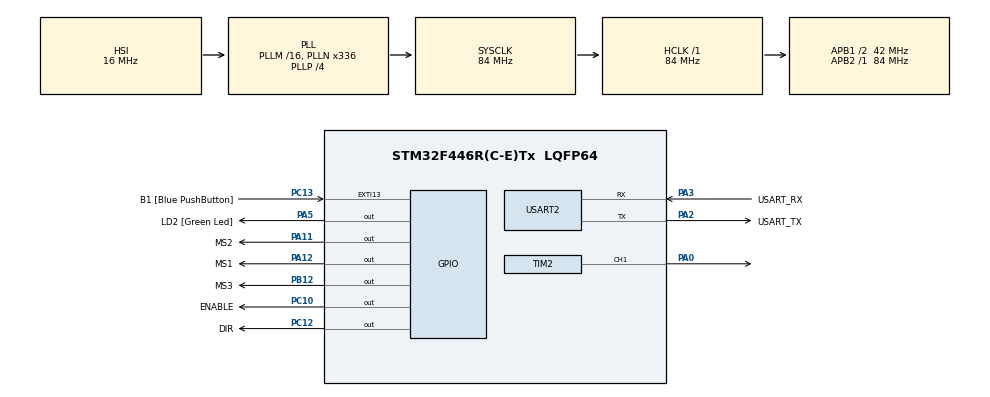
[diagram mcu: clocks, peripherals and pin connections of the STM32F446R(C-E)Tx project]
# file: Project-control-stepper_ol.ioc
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Mcu.Family=STM32F4
Mcu.Name=STM32F446R(C-E)Tx
Mcu.Package=LQFP64
NVIC.EXTI15_10_IRQn=true\:0\:0\:false\:false\:true\:true\:true\:true
NVIC.PriorityGroup=NVIC_PRIORITYGROUP_0
NVIC.TIM3_IRQn=true\:0\:0\:false\:false\:true\:true\:true\:true
NVIC.TIM6_DAC_IRQn=true\:0\:0\:false\:false\:true\:true\:true\:true
NVIC.USART2_IRQn=true\:0\:0\:false\:false\:true\:true\:true\:true
PA0-WKUP.Signal=S_TIM2_CH1_ETR
PA11.GPIO_Label=MS2
PA11.Signal=GPIO_Output
PA12.GPIO_Label=MS1
PA12.Signal=GPIO_Output
PA13.GPIO_Label=TMS
PA13.Mode=Serial_Wire
PA13.Signal=SYS_JTMS-SWDIO
PA14.GPIO_Label=TCK
PA14.Mode=Serial_Wire
PA14.Signal=SYS_JTCK-SWCLK
PA2.GPIO_Label=USART_TX
PA2.Mode=Asynchronous
PA2.Signal=USART2_TX
PA3.GPIO_Label=USART_RX
PA3.Mode=Asynchronous
PA3.Signal=USART2_RX
PA5.GPIO_Label=LD2 [Green Led]
PA5.Signal=GPIO_Output
PB12.GPIO_Label=MS3
PB12.Signal=GPIO_Output
PB3.GPIO_Label=SWO
PB3.Signal=SYS_JTDO-SWO
PC10.GPIO_Label=ENABLE
PC10.Signal=GPIO_Output
PC12.GPIO_Label=DIR
PC12.Signal=GPIO_Output
PC13.GPIO_Label=B1 [Blue PushButton]
PC13.GPIO_ModeDefaultEXTI=GPIO_MODE_IT_FALLING
PC13.Signal=GPXTI13
PC14-OSC32_IN.Mode=LSE-External-Oscillator
PC14-OSC32_IN.Signal=RCC_OSC32_IN
PC15-OSC32_OUT.Mode=LSE-External-Oscillator
PC15-OSC32_OUT.Signal=RCC_OSC32_OUT
PH0-OSC_IN.Mode=HSE-External-Oscillator
PH0-OSC_IN.Signal=RCC_OSC_IN
PH1-OSC_OUT.Mode=HSE-External-Oscillator
PH1-OSC_OUT.Signal=RCC_OSC_OUT
ProjectManager.HeapSize=0x200
ProjectManager.StackSize=0x400
ProjectManager.TargetToolchain=STM32CubeIDE
RCC.48MHZClocksFreq_Value=84000000
RCC.AHBFreq_Value=84000000
RCC.APB1CLKDivider=RCC_HCLK_DIV2
RCC.APB1Freq_Value=42000000
RCC.APB1TimFreq_Value=84000000
RCC.APB2Freq_Value=84000000
RCC.APB2TimFreq_Value=84000000
RCC.CortexFreq_Value=84000000
RCC.FLatency-AdvancedSettings=FLASH_LATENCY_2
RCC.HCLKFreq_Value=84000000
RCC.HSE_VALUE=8000000
RCC.HSI_VALUE=16000000
RCC.PLLN=336
RCC.PLLP=RCC_PLLP_DIV4
RCC.SYSCLKFreq_VALUE=84000000
RCC.SYSCLKSource=RCC_SYSCLKSOURCE_PLLCLK
RCC.USBFreq_Value=168000000
RCC.VCOOutputFreq_Value=336000000
SH.S_TIM2_CH1_ETR.0=TIM2_CH1,PWM Generation1 CH1
TIM2.Channel-PWM\ Generation1\ CH1=TIM_CHANNEL_1
TIM2.Period=839999
TIM2.Prescaler=0
TIM2.Pulse-PWM\ Generation1\ CH1=10000
TIM2.TIM_MasterOutputTrigger=TIM_TRGO_UPDATE
TIM2.TIM_MasterSlaveMode=TIM_MASTERSLAVEMODE_ENABLE
TIM3.Period=200
TIM6.Period=8399
TIM6.Prescaler=499
USART2.VirtualMode=VM_ASYNC
VP_TIM2_VS_ClockSourceINT.Mode=Internal
VP_TIM3_VS_ClockSourceITR.Mode=TriggerSource_ITR1
VP_TIM3_VS_ControllerModeClock.Mode=Clock Mode
VP_TIM6_VS_ClockSourceINT.Mode=Enable_Timer
board=NUCLEO-F446RE

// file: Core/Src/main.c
/* USER CODE BEGIN Header */
/**
  ******************************************************************************
  * @file           : main.c
  * @brief          : Main program body
  ******************************************************************************
  * @attention
  *
  * Copyright (c) 2025 STMicroelectronics.
  * All rights reserved.
  *
  * This software is licensed under terms that can be found in the LICENSE file
  * in the root directory of this software component.
  * If no LICENSE file comes with this software, it is provided AS-IS.
  *
  ******************************************************************************
  */
/* USER CODE END Header */
#include "main.h"
#include "tim.h"
#include "usart.h"
#include "gpio.h"

/* USER CODE BEGIN Includes */
#include "command.h"
#include "stepper.h"
#include <stdlib.h>

/* USER CODE END Includes */

/* USER CODE BEGIN PV */

Command g_command;
Stepper nema_17;

uint8_t rx_data[20];
uint8_t cnt=0;

float step_displacement = 0.0505;

volatile float *speed_table = NULL;
volatile uint32_t speed_table_size = 0;

int last_position = 0;

/* USER CODE END PV */

void SystemClock_Config(void);

int main(void)
{

  /* MCU Configuration--------------------------------------------------------*/

  /* Reset of all peripherals, Initializes the Flash interface and the Systick. */
  HAL_Init();

  /* Configure the system clock */
  SystemClock_Config();

  /* Initialize all configured peripherals */
  MX_GPIO_Init();
  MX_USART2_UART_Init();
  MX_TIM2_Init();
  MX_TIM3_Init();
  MX_TIM6_Init();
  /* USER CODE BEGIN 2 */

  Stepper_Init(&nema_17, step_displacement, GPIOC, GPIO_PIN_10, &htim2, GPIOA, GPIO_PIN_0, GPIOC, GPIO_PIN_12, GPIOA, GPIO_PIN_12, GPIOA, GPIO_PIN_11, GPIOB, GPIO_PIN_12);
  Stepper_SetMicroStep(&nema_17, QUARTER_STEP);

  Command_Init(&g_command, &nema_17, &htim3, &huart2);

  // Start uart connection
  HAL_UART_Receive_IT(&huart2, rx_data, 1);

  // Start slave timer
  __HAL_TIM_CLEAR_FLAG(&htim3, TIM_FLAG_UPDATE);
  HAL_TIM_Base_Start_IT(&htim3);

  /* USER CODE END 2 */

  /* Infinite loop */
  while (1)
  {

  }
}

void SystemClock_Config(void)
{
  RCC_OscInitTypeDef RCC_OscInitStruct = {0};
  RCC_ClkInitTypeDef RCC_ClkInitStruct = {0};

  /** Configure the main internal regulator output voltage
  */
  __HAL_RCC_PWR_CLK_ENABLE();
  __HAL_PWR_VOLTAGESCALING_CONFIG(PWR_REGULATOR_VOLTAGE_SCALE3);

  /** Initializes the RCC Oscillators according to the specified parameters
  * in the RCC_OscInitTypeDef structure.
  */
  RCC_OscInitStruct.OscillatorType = RCC_OSCILLATORTYPE_HSI;
  RCC_OscInitStruct.HSIState = RCC_HSI_ON;
  RCC_OscInitStruct.HSICalibrationValue = RCC_HSICALIBRATION_DEFAULT;
  RCC_OscInitStruct.PLL.PLLState = RCC_PLL_ON;
  RCC_OscInitStruct.PLL.PLLSource = RCC_PLLSOURCE_HSI;
  RCC_OscInitStruct.PLL.PLLM = 16;
  RCC_OscInitStruct.PLL.PLLN = 336;
  RCC_OscInitStruct.PLL.PLLP = RCC_PLLP_DIV4;
  RCC_OscInitStruct.PLL.PLLQ = 2;
  RCC_OscInitStruct.PLL.PLLR = 2;
  if (HAL_RCC_OscConfig(&RCC_OscInitStruct) != HAL_OK)
  {
    Error_Handler();
  }

  /** Initializes the CPU, AHB and APB buses clocks
  */
  RCC_ClkInitStruct.ClockType = RCC_CLOCKTYPE_HCLK|RCC_CLOCKTYPE_SYSCLK
                              |RCC_CLOCKTYPE_PCLK1|RCC_CLOCKTYPE_PCLK2;
  RCC_ClkInitStruct.SYSCLKSource = RCC_SYSCLKSOURCE_PLLCLK;
  RCC_ClkInitStruct.AHBCLKDivider = RCC_SYSCLK_DIV1;
  RCC_ClkInitStruct.APB1CLKDivider = RCC_HCLK_DIV2;
  RCC_ClkInitStruct.APB2CLKDivider = RCC_HCLK_DIV1;

  if (HAL_RCC_ClockConfig(&RCC_ClkInitStruct, FLASH_LATENCY_2) != HAL_OK)
  {
    Error_Handler();
  }
}

/* USER CODE BEGIN 4 */

void HAL_UART_RxCpltCallback(UART_HandleTypeDef *huart){
	/*
	 * Commands are received through uart
	 */
	if (huart->Instance == USART2){

		if (*(rx_data+cnt) == '\r'){
			Command_Parse(&g_command, rx_data);
			Command_Execute(&g_command);
			cnt = -1;
			memset(rx_data,0,sizeof(rx_data));
			Command_Clear(&g_command);
		}
		cnt++;
		HAL_UART_Receive_IT(&huart2, rx_data+cnt, 1);
	}
}

void HAL_TIM_PeriodElapsedCallback(TIM_HandleTypeDef *htim){

	// Tim3 handles distances
	if (htim->Instance == TIM3){
		Stepper_Stop(&nema_17);
		Stepper_Disable(&nema_17);
		Stepper_SetSpeed(&nema_17, 0.0f);

		if (speed_table != NULL) {
			free(speed_table);
			speed_table = NULL;
			speed_table_size = 0;
		}
	}

	// Tim6 handles accelerations
	if (htim->Instance == TIM6) {

		uint32_t step = htim3.Instance->CNT;
		float new_speed = speed_table[step];

		if (step < speed_table_size && speed_table != NULL) {
			Stepper_SetSpeed(&nema_17, new_speed);
		}

	}

}

void _putchar(char c) {
    ITM_SendChar(c);
}

/* USER CODE END 4 */

void Error_Handler(void)
{
  __disable_irq();
  while (1)
  {
  }
}
